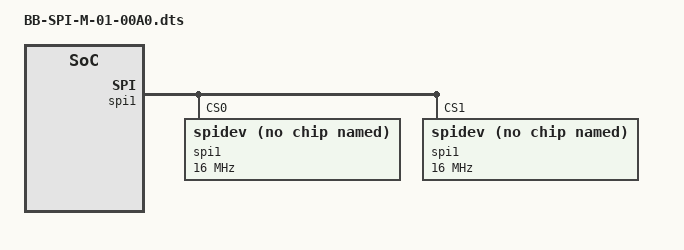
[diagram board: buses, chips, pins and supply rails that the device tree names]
/dts-v1/;
/plugin/;

/ {
  compatible = "ti,beaglebone", "ti,beaglebone-black";

  /* identification */
  part-number = "spimultiple";
  version = "00A0";

  fragment@0 {
    target = <&am33xx_pinmux>;
    __overlay__ {
    bb_spi1_pins: pinmux_bb_spi1_pins {
	pinctrl-single,pins = <
	  0x190 0x33	/* mcasp0_aclkx.spi1_sclk, INPUT_PULLUP | MODE3 */
	  0x194 0x33	/* mcasp0_fsx.spi1_d0, INPUT_PULLUP | MODE3 */
	  0x198 0x13	/* mcasp0_axr0.spi1_d1, OUTPUT_PULLUP | MODE3 */
	  0x19c 0x13	/* mcasp0_ahclkr.spi1_cs0, OUTPUT_PULLUP | MODE3 */
	  0x164 0x12	/* eCAP0_in_PWM0_out.spi1_cs1 OUTPUT_PULLUP | MODE2 */
	  >;
      };

    };
  };
  fragment@1 {
      target = <&spi1>;
      __overlay__ {

           #address-cells = <1>;
           #size-cells = <0>;
           status = "okay";
           pinctrl-names = "default";
           pinctrl-0 = <&bb_spi1_pins>;

           /*spidev@1 {
               spi-max-frequency = <24000000>;
               reg = <0>;
               compatible = "linux,spidev";
           };*/

	   spi1@0 {
	     #address-cells = <1>;
	     #size-cells = <0>;
	     compatible = "spidev";
	     reg = <0>;
	     spi-max-frequency = <16000000>;
	     spi-cpol;
	     spi-cpha;
	   };

	   spi1@1 {
	     #address-cells = <1>;
	     #size-cells = <0>;
	     compatible = "spidev";
	     reg = <1>;
	     spi-max-frequency = <16000000>;
	     spi-cpol;
	     spi-cpha;
	   };
	   
      };
  };
};
